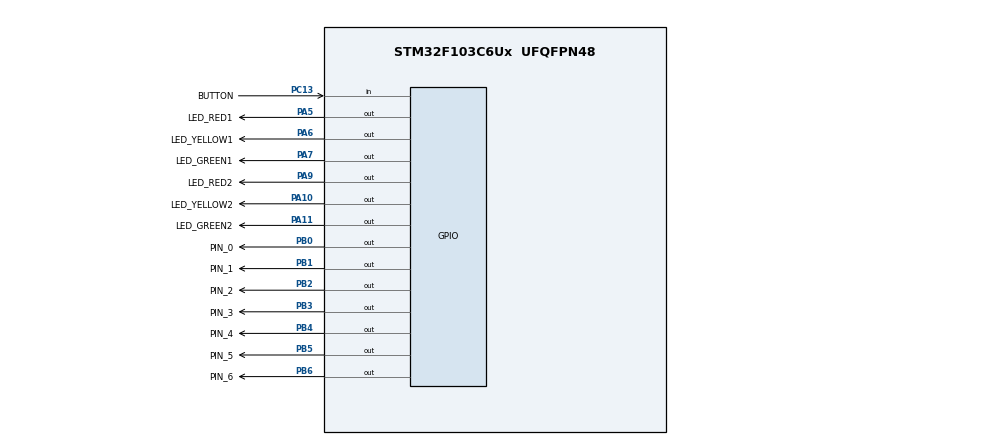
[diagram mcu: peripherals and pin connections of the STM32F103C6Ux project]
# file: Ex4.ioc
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Mcu.Family=STM32F1
Mcu.Name=STM32F103C6Ux
Mcu.Package=UFQFPN48
NVIC.PriorityGroup=NVIC_PRIORITYGROUP_4
PA10.GPIO_Label=LED_YELLOW2
PA10.Signal=GPIO_Output
PA11.GPIO_Label=LED_GREEN2
PA11.Signal=GPIO_Output
PA5.GPIO_Label=LED_RED1
PA5.Signal=GPIO_Output
PA6.GPIO_Label=LED_YELLOW1
PA6.Signal=GPIO_Output
PA7.GPIO_Label=LED_GREEN1
PA7.Signal=GPIO_Output
PA9.GPIO_Label=LED_RED2
PA9.Signal=GPIO_Output
PB0.GPIO_Label=PIN_0
PB0.Signal=GPIO_Output
PB1.GPIO_Label=PIN_1
PB1.Signal=GPIO_Output
PB2.GPIO_Label=PIN_2
PB2.Signal=GPIO_Output
PB3.GPIO_Label=PIN_3
PB3.Signal=GPIO_Output
PB4.GPIO_Label=PIN_4
PB4.Signal=GPIO_Output
PB5.GPIO_Label=PIN_5
PB5.Signal=GPIO_Output
PB6.GPIO_Label=PIN_6
PB6.Signal=GPIO_Output
PC13-TAMPER-RTC.GPIO_Label=BUTTON
PC13-TAMPER-RTC.GPIO_PuPd=GPIO_PULLUP
PC13-TAMPER-RTC.Signal=GPIO_Input
ProjectManager.HeapSize=0x200
ProjectManager.StackSize=0x400
ProjectManager.TargetToolchain=STM32CubeIDE
RCC.APB1Freq_Value=8000000
RCC.APB2Freq_Value=8000000
VP_SYS_VS_ND.Mode=No_Debug
board=custom

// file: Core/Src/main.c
/* USER CODE BEGIN Header */
/**
  ******************************************************************************
  * @file           : main.c
  * @brief          : Main program body
  ******************************************************************************
  * @attention
  *
  * <h2><center>&copy; Copyright (c) 2022 STMicroelectronics.
  * All rights reserved.</center></h2>
  *
  * This software component is licensed by ST under BSD 3-Clause license,
  * the "License"; You may not use this file except in compliance with the
  * License. You may obtain a copy of the License at:
  *                        opensource.org/licenses/BSD-3-Clause
  *
  ******************************************************************************
  */
/* USER CODE END Header */
#include "main.h"

void SystemClock_Config(void);
static void MX_GPIO_Init(void);

void display7seg(int counter){
			  if(counter == 0)
			  {
	  			  HAL_GPIO_WritePin(PIN_0_GPIO_Port, PIN_0_Pin, RESET);
	  			  HAL_GPIO_WritePin(PIN_1_GPIO_Port, PIN_1_Pin, RESET);
	  			  HAL_GPIO_WritePin(PIN_2_GPIO_Port, PIN_2_Pin, RESET);
	  			  HAL_GPIO_WritePin(PIN_3_GPIO_Port, PIN_3_Pin, RESET);
	  			  HAL_GPIO_WritePin(PIN_4_GPIO_Port, PIN_4_Pin, RESET);
	  			  HAL_GPIO_WritePin(PIN_5_GPIO_Port, PIN_5_Pin, RESET);
	  			  HAL_GPIO_WritePin(PIN_6_GPIO_Port, PIN_6_Pin, SET);

			  }
			  if(counter == 1)
			  {
	  			  HAL_GPIO_WritePin(PIN_0_GPIO_Port, PIN_0_Pin, SET);
	  			  HAL_GPIO_WritePin(PIN_3_GPIO_Port, PIN_3_Pin, SET);
	  			  HAL_GPIO_WritePin(PIN_4_GPIO_Port, PIN_4_Pin, SET);
	  			  HAL_GPIO_WritePin(PIN_5_GPIO_Port, PIN_5_Pin, SET);
	  			  HAL_GPIO_WritePin(PIN_6_GPIO_Port, PIN_6_Pin, SET);
			  }
			  if(counter == 2)
			  {
	  			  HAL_GPIO_WritePin(PIN_0_GPIO_Port, PIN_0_Pin, RESET);
	  			  HAL_GPIO_WritePin(PIN_2_GPIO_Port, PIN_2_Pin, SET);
	  			  HAL_GPIO_WritePin(PIN_3_GPIO_Port, PIN_3_Pin, RESET);
	  			  HAL_GPIO_WritePin(PIN_4_GPIO_Port, PIN_4_Pin, RESET);
	  			  HAL_GPIO_WritePin(PIN_6_GPIO_Port, PIN_6_Pin, RESET);

			  }
			  if(counter == 3)
			  {
	  		  	  HAL_GPIO_WritePin(PIN_2_GPIO_Port, PIN_2_Pin, RESET);
	  		  	  HAL_GPIO_WritePin(PIN_4_GPIO_Port, PIN_4_Pin, SET);\

			  }
			  if(counter == 4)
			  {
	  		  	  HAL_GPIO_WritePin(PIN_0_GPIO_Port, PIN_0_Pin, SET);
	  		  	  HAL_GPIO_WritePin(PIN_3_GPIO_Port, PIN_3_Pin, SET);
	  		  	  HAL_GPIO_WritePin(PIN_5_GPIO_Port, PIN_5_Pin, RESET);

			  }
			  if(counter == 5)
			  {
	  		  	  HAL_GPIO_WritePin(PIN_0_GPIO_Port, PIN_0_Pin, RESET);
	  		  	  HAL_GPIO_WritePin(PIN_1_GPIO_Port, PIN_1_Pin, SET);
	  		  	  HAL_GPIO_WritePin(PIN_3_GPIO_Port, PIN_3_Pin, RESET);

			  }
	          if (counter == 6)
			  {
	  		  	  HAL_GPIO_WritePin(PIN_4_GPIO_Port, PIN_4_Pin, RESET);

			  }
			  if(counter == 7)
			  {
	  		  	  HAL_GPIO_WritePin(PIN_1_GPIO_Port, PIN_1_Pin, RESET);
	  		  	  HAL_GPIO_WritePin(PIN_3_GPIO_Port, PIN_3_Pin, SET);
	  		  	  HAL_GPIO_WritePin(PIN_4_GPIO_Port, PIN_4_Pin, SET);
	  		  	  HAL_GPIO_WritePin(PIN_5_GPIO_Port, PIN_5_Pin, SET);
	  		  	  HAL_GPIO_WritePin(PIN_6_GPIO_Port, PIN_6_Pin, SET);

			  }
			  if(counter == 8)
			  {
	  		  	  HAL_GPIO_WritePin(PIN_3_GPIO_Port, PIN_3_Pin, RESET);
	  		  	  HAL_GPIO_WritePin(PIN_4_GPIO_Port, PIN_4_Pin, RESET);
	  		  	  HAL_GPIO_WritePin(PIN_5_GPIO_Port, PIN_5_Pin, RESET);
	  		  	  HAL_GPIO_WritePin(PIN_6_GPIO_Port, PIN_6_Pin, RESET);

			  }
			  if (counter == 9)
			  {
	  		  	  HAL_GPIO_WritePin(PIN_4_GPIO_Port, PIN_4_Pin, SET);

			  }
			  else
				  if(counter >= 10)
					  counter = 0;
}

int main(void)
{

  /* MCU Configuration--------------------------------------------------------*/

  /* Reset of all peripherals, Initializes the Flash interface and the Systick. */
  HAL_Init();

  /* Configure the system clock */
  SystemClock_Config();

  /* Initialize all configured peripherals */
  MX_GPIO_Init();

  /* Infinite loop */
  /* USER CODE BEGIN WHILE */
  int a = 1;
  while (1)
  {
	   /* USER CODE END WHILE */

	      /* USER CODE BEGIN 3 */
	  	display7seg(a);
	  	switch(a)
	  	{
	  	case 1:
	  		HAL_GPIO_WritePin(LED_RED1_GPIO_Port, LED_RED1_Pin, RESET);
	  		HAL_GPIO_WritePin(LED_YELLOW1_GPIO_Port, LED_YELLOW1_Pin, SET);
	  		HAL_GPIO_WritePin(LED_GREEN1_GPIO_Port, LED_GREEN1_Pin, SET);
	  		HAL_GPIO_WritePin(LED_GREEN2_GPIO_Port, LED_GREEN2_Pin, RESET);
	  		HAL_GPIO_WritePin(LED_YELLOW2_GPIO_Port, LED_YELLOW2_Pin, SET);
	  		HAL_GPIO_WritePin(LED_RED2_GPIO_Port, LED_RED2_Pin, SET);
	  		break;
	  	case 3:
	  		HAL_GPIO_WritePin(LED_GREEN2_GPIO_Port, LED_GREEN2_Pin, SET);
	  		HAL_GPIO_WritePin(LED_YELLOW2_GPIO_Port, LED_YELLOW2_Pin, RESET);
	  		break;
	  	case 5:
	  		HAL_GPIO_WritePin(LED_RED1_GPIO_Port, LED_RED1_Pin, SET);
	  		HAL_GPIO_WritePin(LED_YELLOW2_GPIO_Port, LED_YELLOW2_Pin, SET);
	  		HAL_GPIO_WritePin(LED_GREEN1_GPIO_Port, LED_GREEN1_Pin, RESET);
	  		HAL_GPIO_WritePin(LED_RED2_GPIO_Port, LED_RED2_Pin, RESET);
	  		break;
	  	case 8:
	  		HAL_GPIO_WritePin(LED_GREEN1_GPIO_Port, LED_GREEN1_Pin, SET);
	  		HAL_GPIO_WritePin(LED_YELLOW1_GPIO_Port, LED_YELLOW1_Pin, RESET);
	  		break;
	  	case 10:
	  		a = 0;
	  		display7seg(a);
	  		HAL_GPIO_WritePin(LED_RED2_GPIO_Port, LED_RED2_Pin, SET);
	  		HAL_GPIO_WritePin(LED_YELLOW1_GPIO_Port, LED_YELLOW1_Pin, SET);
	  		HAL_GPIO_WritePin(LED_GREEN2_GPIO_Port, LED_GREEN2_Pin, RESET);
	  		HAL_GPIO_WritePin(LED_RED1_GPIO_Port, LED_RED1_Pin, RESET);
	  		break;
	  	}
	  	HAL_Delay(1000);
	  	a++;
  }
  /* USER CODE END 3 */
}

void SystemClock_Config(void)
{
  RCC_OscInitTypeDef RCC_OscInitStruct = {0};
  RCC_ClkInitTypeDef RCC_ClkInitStruct = {0};

  /** Initializes the RCC Oscillators according to the specified parameters
  * in the RCC_OscInitTypeDef structure.
  */
  RCC_OscInitStruct.OscillatorType = RCC_OSCILLATORTYPE_HSI;
  RCC_OscInitStruct.HSIState = RCC_HSI_ON;
  RCC_OscInitStruct.HSICalibrationValue = RCC_HSICALIBRATION_DEFAULT;
  RCC_OscInitStruct.PLL.PLLState = RCC_PLL_NONE;
  if (HAL_RCC_OscConfig(&RCC_OscInitStruct) != HAL_OK)
  {
    Error_Handler();
  }
  /** Initializes the CPU, AHB and APB buses clocks
  */
  RCC_ClkInitStruct.ClockType = RCC_CLOCKTYPE_HCLK|RCC_CLOCKTYPE_SYSCLK
                              |RCC_CLOCKTYPE_PCLK1|RCC_CLOCKTYPE_PCLK2;
  RCC_ClkInitStruct.SYSCLKSource = RCC_SYSCLKSOURCE_HSI;
  RCC_ClkInitStruct.AHBCLKDivider = RCC_SYSCLK_DIV1;
  RCC_ClkInitStruct.APB1CLKDivider = RCC_HCLK_DIV1;
  RCC_ClkInitStruct.APB2CLKDivider = RCC_HCLK_DIV1;

  if (HAL_RCC_ClockConfig(&RCC_ClkInitStruct, FLASH_LATENCY_0) != HAL_OK)
  {
    Error_Handler();
  }
}

static void MX_GPIO_Init(void)
{
  GPIO_InitTypeDef GPIO_InitStruct = {0};

  /* GPIO Ports Clock Enable */
  __HAL_RCC_GPIOC_CLK_ENABLE();
  __HAL_RCC_GPIOA_CLK_ENABLE();
  __HAL_RCC_GPIOB_CLK_ENABLE();

  /*Configure GPIO pin Output Level */
  HAL_GPIO_WritePin(GPIOA, LED_RED1_Pin|LED_YELLOW1_Pin|LED_GREEN1_Pin|LED_RED2_Pin
                          |LED_YELLOW2_Pin|LED_GREEN2_Pin, GPIO_PIN_RESET);

  /*Configure GPIO pin Output Level */
  HAL_GPIO_WritePin(GPIOB, PIN_0_Pin|PIN_1_Pin|PIN_2_Pin|PIN_3_Pin
                          |PIN_4_Pin|PIN_5_Pin|PIN_6_Pin, GPIO_PIN_RESET);

  /*Configure GPIO pin : BUTTON_Pin */
  GPIO_InitStruct.Pin = BUTTON_Pin;
  GPIO_InitStruct.Mode = GPIO_MODE_INPUT;
  GPIO_InitStruct.Pull = GPIO_PULLUP;
  HAL_GPIO_Init(BUTTON_GPIO_Port, &GPIO_InitStruct);

  /*Configure GPIO pins : LED_RED1_Pin LED_YELLOW1_Pin LED_GREEN1_Pin LED_RED2_Pin
                           LED_YELLOW2_Pin LED_GREEN2_Pin */
  GPIO_InitStruct.Pin = LED_RED1_Pin|LED_YELLOW1_Pin|LED_GREEN1_Pin|LED_RED2_Pin
                          |LED_YELLOW2_Pin|LED_GREEN2_Pin;
  GPIO_InitStruct.Mode = GPIO_MODE_OUTPUT_PP;
  GPIO_InitStruct.Pull = GPIO_NOPULL;
  GPIO_InitStruct.Speed = GPIO_SPEED_FREQ_LOW;
  HAL_GPIO_Init(GPIOA, &GPIO_InitStruct);

  /*Configure GPIO pins : PIN_0_Pin PIN_1_Pin PIN_2_Pin PIN_3_Pin
                           PIN_4_Pin PIN_5_Pin PIN_6_Pin */
  GPIO_InitStruct.Pin = PIN_0_Pin|PIN_1_Pin|PIN_2_Pin|PIN_3_Pin
                          |PIN_4_Pin|PIN_5_Pin|PIN_6_Pin;
  GPIO_InitStruct.Mode = GPIO_MODE_OUTPUT_PP;
  GPIO_InitStruct.Pull = GPIO_NOPULL;
  GPIO_InitStruct.Speed = GPIO_SPEED_FREQ_LOW;
  HAL_GPIO_Init(GPIOB, &GPIO_InitStruct);

}

void Error_Handler(void)
{
  __disable_irq();
  while (1)
  {
  }
}

/************************ (C) COPYRIGHT STMicroelectronics *****END OF FILE****/
